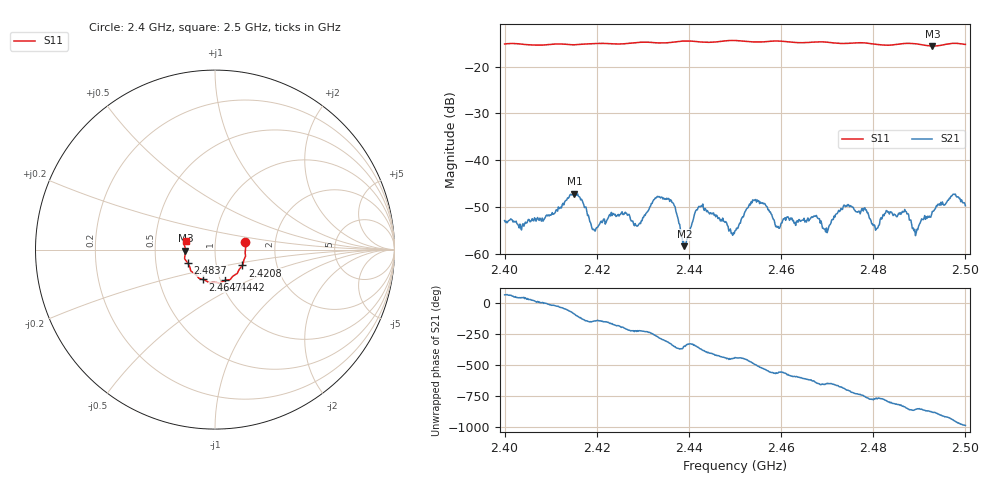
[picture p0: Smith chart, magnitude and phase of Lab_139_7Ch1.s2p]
# Hz S RI R 50
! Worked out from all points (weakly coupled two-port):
!   601 points, 2.4 GHz to 2.5 GHz, reference 50 ohm
!   highest |S21| = -47.07 dB at 2.4152 GHz (marker M1); lowest = -58.3 dB at 2.439 GHz (marker M2)
!   lowest |S11| = -15.6 dB at 2.4928 GHz (marker M3), VSWR 1.40, Z = 35.8 - j0.429 ohm
!   |S11| at or under -10 dB: start of sweep to end of sweep
!   S12 and S22 are empty: the file has one direction only
!   S11 on the Smith chart (normalised r, x): 2.4 GHz: 1.40, +0.12; 2.4208 GHz: 1.33, -0.24; 2.4442 GHz: 1.05, -0.37; 2.4647 GHz: 0.83, -0.29; 2.4837 GHz: 0.73, -0.11; 2.5 GHz: 0.71, +0.07
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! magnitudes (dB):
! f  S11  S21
! 2.4 GHz  -15.2  -52.8
! 2.4152 GHz  -15.4  -47.1
! 2.4167 GHz  -15.3  -48.2
! 2.4208 GHz  -15.1  -53.0
! 2.429 GHz  -14.9  -53.8
! 2.4333 GHz  -15.0  -47.8
! 2.4365 GHz  -14.8  -49.0
! 2.439 GHz  -14.6  -58.3
! 2.4418 GHz  -14.7  -50.5
! 2.4442 GHz  -14.9  -51.0
! 2.45 GHz  -14.5  -55.0
! 2.4543 GHz  -14.8  -48.4
! 2.4593 GHz  -14.6  -54.0
! 2.4647 GHz  -14.9  -52.7
! 2.4667 GHz  -14.8  -52.0
! 2.4747 GHz  -15.1  -49.5
! 2.4808 GHz  -15.3  -54.4
! 2.4833 GHz  -15.5  -51.0
! 2.4837 GHz  -15.4  -51.0
! 2.4892 GHz  -15.2  -56.0
! 2.4928 GHz  -15.6  -50.9
! 2.5 GHz  -15.3  -49.7
